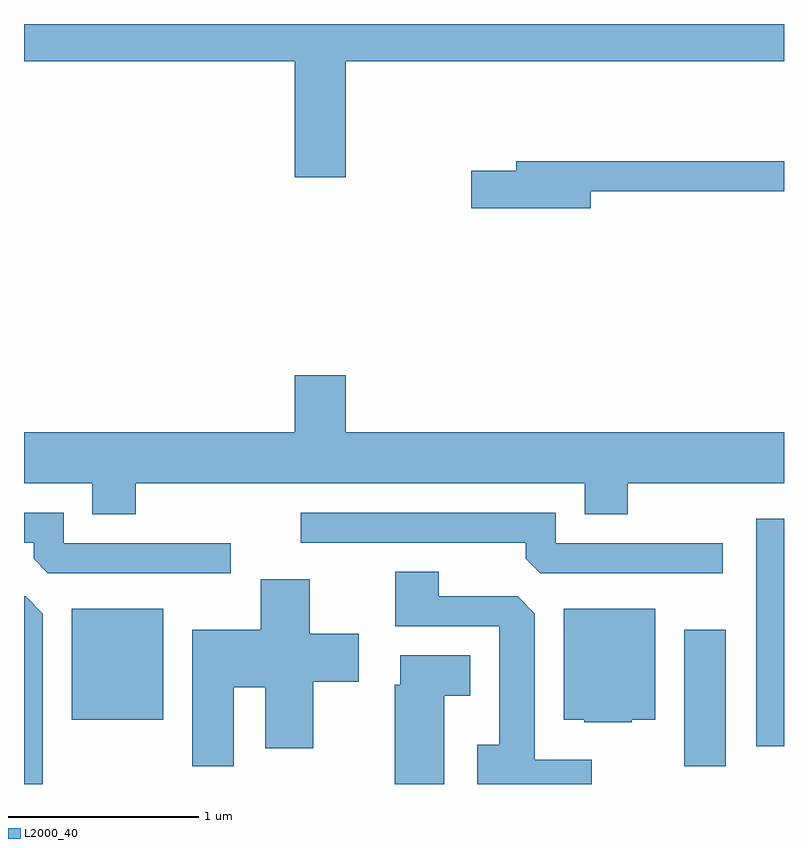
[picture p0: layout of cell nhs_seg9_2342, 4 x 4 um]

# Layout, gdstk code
import gdstk
lib = gdstk.Library(unit=1e-6, precision=1e-09)
def R(c, l, rs):  # rectangles x0, y0, x1, y1
    for r in rs: c.add(gdstk.rectangle(r[:2], r[2:], *l))
def P(c, l, *ps):  # polygons
    for p in ps: c.add(gdstk.Polygon(p, *l))
L2000_40 = (2000, 40)

nhs_seg9_2342 = lib.new_cell('nhs_seg9_2342')
R(nhs_seg9_2342, L2000_40, [(257.086,2012.526,257.304,2013.244), (257.466,2012.631,257.611,2013.829), (253.861,2012.771,254.344,2013.354)])
P(nhs_seg9_2342, L2000_40, [(255.304,2016.236),(257.611,2016.236),(257.611,2016.432),(253.611,2016.432),(253.611,2016.236),(255.036,2016.236),(255.036,2015.626),(255.304,2015.626)],
  [(256.594,2015.551),(257.611,2015.551),(257.611,2015.709),(256.201,2015.709),(256.201,2015.659),(255.966,2015.659),(255.966,2015.461),(256.594,2015.461)],
  [(254.199,2014.016),(256.561,2014.016),(256.561,2013.851),(256.789,2013.851),(256.789,2014.016),(257.611,2014.016),(257.611,2014.284),(255.304,2014.284),(255.304,2014.584),(255.036,2014.584),(255.036,2014.284),(253.611,2014.284),(253.611,2014.016),(253.971,2014.016),(253.971,2013.851),(254.199,2013.851)],
  [(254.698,2013.699),(253.819,2013.699),(253.819,2013.859),(253.611,2013.859),(253.611,2013.701),(253.661,2013.701),(253.661,2013.617),(253.737,2013.541),(254.698,2013.541)],
  [(257.288,2013.699),(256.409,2013.699),(256.409,2013.859),(255.068,2013.859),(255.068,2013.701),(256.251,2013.701),(256.251,2013.617),(256.327,2013.541),(257.288,2013.541)],
  [(256.599,2012.559),(256.299,2012.559),(256.299,2013.329),(256.209,2013.419),(255.794,2013.419),(255.794,2013.549),(255.566,2013.549),(255.566,2013.261),(256.111,2013.261),(256.111,2012.639),(255.996,2012.639),(255.996,2012.432),(256.599,2012.432)],
  [(254.714,2012.941),(254.881,2012.941),(254.881,2012.621),(255.134,2012.621),(255.134,2012.971),(255.374,2012.971),(255.374,2013.224),(255.114,2013.224),(255.114,2013.509),(254.856,2013.509),(254.856,2013.244),(254.496,2013.244),(254.496,2012.526),(254.714,2012.526)],
  [(253.709,2013.329),(253.619,2013.419),(253.611,2013.419),(253.611,2012.432),(253.709,2012.432)],
  [(256.81,2012.771),(256.934,2012.771),(256.934,2013.354),(256.451,2013.354),(256.451,2012.771),(256.56,2012.771),(256.56,2012.756),(256.81,2012.756)],
  [(255.824,2012.896),(255.959,2012.896),(255.959,2013.109),(255.591,2013.109),(255.591,2012.954),(255.561,2012.954),(255.561,2012.432),(255.824,2012.432)])

lib.write_gds('nhs_seg9_2342.gds')
